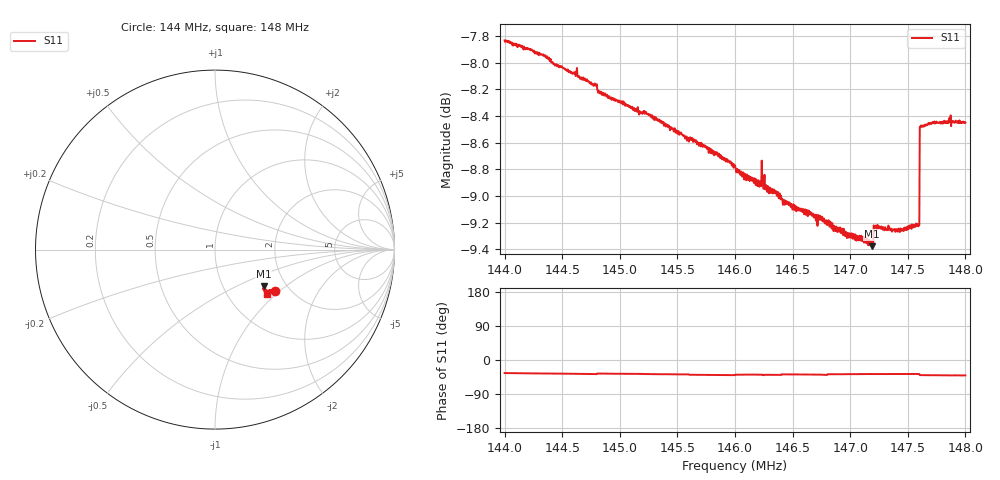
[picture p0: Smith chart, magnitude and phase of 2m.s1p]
! Calibrated averaged scanner-service zoom
# Hz S RI R 50
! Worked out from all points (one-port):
!   1001 points, 144 MHz to 148 MHz, reference 50 ohm
!   lowest |S11| = -9.4 dB at 147.19 MHz (marker M1), VSWR 2.03, Z = 77.3 - j35.7 ohm
!   |S11| at or under -10 dB: nowhere
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1.44e8  0.3345 -0.2299
1.445e8  0.3211 -0.2329
1.4478e8  0.3119 -0.2353
1.44824e8  0.3149 -0.2274
1.45e8  0.3099 -0.2282
1.455e8  0.2955 -0.2299
1.4558e8  0.2944 -0.2299
1.45628e8  0.2902 -0.2344
1.45844e8  0.2831 -0.2358
1.45964e8  0.2802 -0.2342
1.46e8  0.2796 -0.2335
1.46024e8  0.2827 -0.2274
1.46144e8  0.2816 -0.2241
1.46236e8  0.2799 -0.2264
1.4628e8  0.2769 -0.2238
1.4638e8  0.2742 -0.224
1.46424e8  0.2787 -0.2176
1.465e8  0.2763 -0.2159
1.46716e8  0.2707 -0.2151
1.4678e8  0.2695 -0.2191
1.46824e8  0.2735 -0.2114
1.47e8  0.2728 -0.2081
1.47188e8  0.2715 -0.2042
1.47224e8  0.2754 -0.2082
1.475e8  0.2753 -0.2076
1.4758e8  0.2766 -0.2074
1.47624e8  0.289 -0.2416
1.48e8  0.2872 -0.2458
